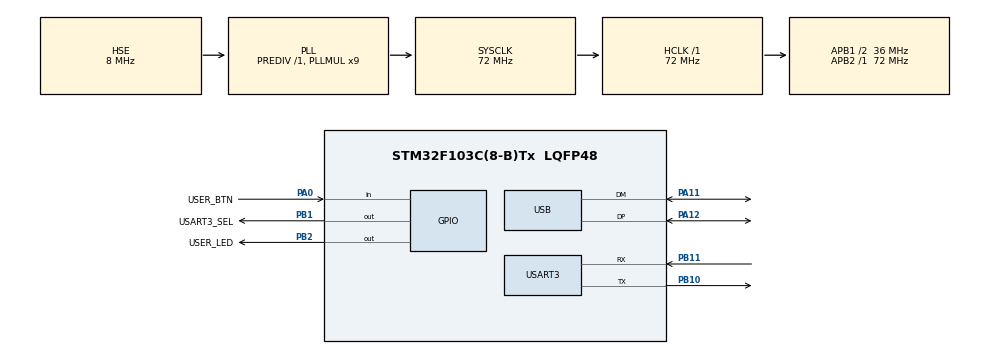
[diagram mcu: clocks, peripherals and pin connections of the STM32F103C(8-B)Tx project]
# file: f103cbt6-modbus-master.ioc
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ADC1.Channel-0\#ChannelRegularConversion=ADC_CHANNEL_TEMPSENSOR
ADC1.NbrOfConversionFlag=1
ADC1.Rank-0\#ChannelRegularConversion=1
ADC1.SamplingTime-0\#ChannelRegularConversion=ADC_SAMPLETIME_1CYCLE_5
ADC1.master=1
Dma.Request0=USART3_RX
Dma.Request1=USART3_TX
Dma.USART3_RX.0.Direction=DMA_PERIPH_TO_MEMORY
Dma.USART3_RX.0.Instance=DMA1_Channel3
Dma.USART3_RX.0.MemDataAlignment=DMA_MDATAALIGN_BYTE
Dma.USART3_RX.0.MemInc=DMA_MINC_ENABLE
Dma.USART3_RX.0.Mode=DMA_NORMAL
Dma.USART3_RX.0.PeriphDataAlignment=DMA_PDATAALIGN_BYTE
Dma.USART3_RX.0.PeriphInc=DMA_PINC_DISABLE
Dma.USART3_RX.0.Priority=DMA_PRIORITY_LOW
Dma.USART3_TX.1.Direction=DMA_MEMORY_TO_PERIPH
Dma.USART3_TX.1.Instance=DMA1_Channel2
Dma.USART3_TX.1.MemDataAlignment=DMA_MDATAALIGN_BYTE
Dma.USART3_TX.1.MemInc=DMA_MINC_ENABLE
Dma.USART3_TX.1.Mode=DMA_NORMAL
Dma.USART3_TX.1.PeriphDataAlignment=DMA_PDATAALIGN_BYTE
Dma.USART3_TX.1.PeriphInc=DMA_PINC_DISABLE
Dma.USART3_TX.1.Priority=DMA_PRIORITY_LOW
Mcu.Family=STM32F1
Mcu.Name=STM32F103C(8-B)Tx
Mcu.Package=LQFP48
NVIC.DMA1_Channel2_IRQn=true\:0\:0\:false\:false\:true\:false\:true\:true
NVIC.DMA1_Channel3_IRQn=true\:0\:0\:false\:false\:true\:false\:true\:true
NVIC.PriorityGroup=NVIC_PRIORITYGROUP_4
NVIC.USART3_IRQn=true\:0\:0\:false\:false\:true\:true\:true\:true
PA0-WKUP.GPIO_Label=USER_BTN
PA0-WKUP.GPIO_PuPd=GPIO_PULLDOWN
PA0-WKUP.Signal=GPIO_Input
PA11.Mode=Device
PA11.Signal=USB_DM
PA12.Mode=Device
PA12.Signal=USB_DP
PA13.Mode=Serial_Wire
PA13.Signal=SYS_JTMS-SWDIO
PA14.Mode=Serial_Wire
PA14.Signal=SYS_JTCK-SWCLK
PB1.GPIO_Label=USART3_SEL
PB1.Signal=GPIO_Output
PB10.Mode=Asynchronous
PB10.Signal=USART3_TX
PB11.Mode=Asynchronous
PB11.Signal=USART3_RX
PB2.GPIO_Label=USER_LED
PB2.Signal=GPIO_Output
PC14-OSC32_IN.Mode=LSE-External-Oscillator
PC14-OSC32_IN.Signal=RCC_OSC32_IN
PC15-OSC32_OUT.Mode=LSE-External-Oscillator
PC15-OSC32_OUT.Signal=RCC_OSC32_OUT
PD0-OSC_IN.Mode=HSE-External-Oscillator
PD0-OSC_IN.Signal=RCC_OSC_IN
PD1-OSC_OUT.Mode=HSE-External-Oscillator
PD1-OSC_OUT.Signal=RCC_OSC_OUT
ProjectManager.HeapSize=0x200
ProjectManager.StackSize=0x400
ProjectManager.TargetToolchain=STM32CubeIDE
RCC.ADCPresc=RCC_ADCPCLK2_DIV6
RCC.AHBFreq_Value=72000000
RCC.APB1CLKDivider=RCC_HCLK_DIV2
RCC.APB1Freq_Value=36000000
RCC.APB1TimFreq_Value=72000000
RCC.APB2Freq_Value=72000000
RCC.APB2TimFreq_Value=72000000
RCC.HCLKFreq_Value=72000000
RCC.PLLMUL=RCC_PLL_MUL9
RCC.SYSCLKFreq_VALUE=72000000
RCC.SYSCLKSource=RCC_SYSCLKSOURCE_PLLCLK
RCC.USBFreq_Value=48000000
RCC.USBPrescaler=RCC_USBCLKSOURCE_PLL_DIV1_5
USART3.VirtualMode=VM_ASYNC
VP_ADC1_TempSens_Input.Mode=IN-TempSens
board=custom

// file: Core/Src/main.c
/* USER CODE BEGIN Header */
/**
 ******************************************************************************
 * @file           : main.c
 * @brief          : Main program body
 ******************************************************************************
 * @attention
 *
 * Copyright (c) 2026 STMicroelectronics.
 * All rights reserved.
 *
 * This software is licensed under terms that can be found in the LICENSE file
 * in the root directory of this software component.
 * If no LICENSE file comes with this software, it is provided AS-IS.
 *
 ******************************************************************************
 */
/* USER CODE END Header */
#include "main.h"

/* USER CODE BEGIN Includes */
#include "string.h"
/* USER CODE END Includes */

/* USER CODE BEGIN PD */
#define SLAVE_ID 0x01
#define RX_BUF_SIZE 16
/* USER CODE END PD */

ADC_HandleTypeDef hadc1;

UART_HandleTypeDef huart3;
DMA_HandleTypeDef hdma_usart3_rx;
DMA_HandleTypeDef hdma_usart3_tx;

PCD_HandleTypeDef hpcd_USB_FS;

/* USER CODE BEGIN PV */

uint8_t tx_buf[16];
uint8_t rx_buf[RX_BUF_SIZE];
volatile uint8_t rx_complete_flag = 0;
volatile uint16_t rx_length = 0;

// State Machine Variables
typedef enum {
	STATE_IDLE,
	STATE_SEND_FC05,
	STATE_WAIT_FC05,
	STATE_SEND_FC02,
	STATE_DELAY_FC02, // <-- TAMBAHAN: State untuk jeda antar frame
	STATE_WAIT_FC02
} MasterState_t;

MasterState_t modbus_state = STATE_IDLE;
uint32_t state_timer = 0;

uint8_t my_btn_state = 0;
uint8_t slave_btn_state = 0;
/* USER CODE END PV */

void SystemClock_Config(void);
static void MX_GPIO_Init(void);
static void MX_DMA_Init(void);
static void MX_ADC1_Init(void);
static void MX_USART3_UART_Init(void);
static void MX_USB_PCD_Init(void);

/* USER CODE BEGIN 0 */

uint16_t Modbus_CRC16(uint8_t *buf, uint8_t len) {
	uint16_t crc = 0xFFFF;
	for (int pos = 0; pos < len; pos++) {
		crc ^= (uint16_t) buf[pos];
		for (int i = 8; i != 0; i--) {
			if ((crc & 0x0001) != 0) {
				crc >>= 1;
				crc ^= 0xA001;
			} else {
				crc >>= 1;
			}
		}
	}
	return crc;
}

// Fungsi untuk memulai transmisi DMA
void RS485_Send_DMA(uint8_t *data, uint16_t len) {
	HAL_GPIO_WritePin(USART3_SEL_GPIO_Port, USART3_SEL_Pin, GPIO_PIN_SET); // DE/RE HIGH (Transmit)
	// Beri sedikit jeda agar IC MAX485 siap (biasanya hitungan nanosecond, tapi aman pakai instruksi NOP)
	__NOP();
	__NOP();
	__NOP();
	HAL_UART_Transmit_DMA(&huart3, data, len);
}

// Callback saat pengiriman (TX) selesai dari DMA
void HAL_UART_TxCpltCallback(UART_HandleTypeDef *huart) {
	if (huart->Instance == USART3) {
		HAL_GPIO_WritePin(USART3_SEL_GPIO_Port, USART3_SEL_Pin, GPIO_PIN_RESET); // DE/RE LOW (Receive)
		// Mulai dengarkan balasan
		HAL_UARTEx_ReceiveToIdle_DMA(&huart3, rx_buf, RX_BUF_SIZE);
	}
}

// Callback saat penerimaan (RX) mendeteksi garis IDLE (Selesai menerima 1 frame Modbus)
void HAL_UARTEx_RxEventCallback(UART_HandleTypeDef *huart, uint16_t Size) {
	if (huart->Instance == USART3) {
		rx_length = Size;
		rx_complete_flag = 1;
	}
}

void HAL_UART_ErrorCallback(UART_HandleTypeDef *huart) {
	if (huart->Instance == USART3) {
		// Jika terjadi error pada jalur RS485, bersihkan error dan mulai dengar ulang
		HAL_UARTEx_ReceiveToIdle_DMA(&huart3, rx_buf, RX_BUF_SIZE);
	}
}
/* USER CODE END 0 */

int main(void) {

	/* MCU Configuration--------------------------------------------------------*/

	/* Reset of all peripherals, Initializes the Flash interface and the Systick. */
	HAL_Init();

	/* Configure the system clock */
	SystemClock_Config();

	/* Initialize all configured peripherals */
	MX_GPIO_Init();
	MX_DMA_Init();
	MX_ADC1_Init();
	MX_USART3_UART_Init();
	MX_USB_PCD_Init();
	/* USER CODE BEGIN 2 */
	HAL_GPIO_WritePin(USART3_SEL_GPIO_Port, USART3_SEL_Pin, GPIO_PIN_RESET); // Mode Receive Awal
	uint16_t crc;
	/* USER CODE END 2 */

	/* Infinite loop */
	/* USER CODE BEGIN WHILE */
	while (1) {

		// Baca status tombol lokal Master (Aktif low)
		my_btn_state =
				(HAL_GPIO_ReadPin(USER_BTN_GPIO_Port, USER_BTN_Pin)
						== GPIO_PIN_RESET) ? 1 : 0;

		// FSM (Finite State Machine) untuk Master tanpa Delay
		switch (modbus_state) {

		case STATE_IDLE:
			if (HAL_GetTick() - state_timer > 100) { // Kirim data setiap 100ms
				modbus_state = STATE_SEND_FC05;
			}
			break;

		case STATE_SEND_FC05: // Minta Slave mengubah LED-nya
			memset((void*) rx_buf, 0, RX_BUF_SIZE); // <-- PENTING: Bersihkan buffer
			rx_complete_flag = 0; // Reset flag penerimaan
			tx_buf[0] = SLAVE_ID;
			tx_buf[1] = 0x05;
			tx_buf[2] = 0x00;
			tx_buf[3] = 0x00;
			tx_buf[4] = my_btn_state ? 0xFF : 0x00;
			tx_buf[5] = 0x00;
			crc = Modbus_CRC16(tx_buf, 6);
			tx_buf[6] = crc & 0xFF;
			tx_buf[7] = (crc >> 8) & 0xFF;

			RS485_Send_DMA(tx_buf, 8);
			state_timer = HAL_GetTick(); // Catat waktu pengiriman
			modbus_state = STATE_WAIT_FC05;
			break;

		case STATE_WAIT_FC05:
			if (rx_complete_flag) {
				// Berhasil menerima balasan (opsional bisa di-cek CRC-nya jika perlu)
//				modbus_state = STATE_SEND_FC02; // Lanjut baca tombol slave
				state_timer = HAL_GetTick();
				modbus_state = STATE_DELAY_FC02; // <-- UBAH: Masuk ke state jeda dulu
			} else if (HAL_GetTick() - state_timer > 50) {
				// Timeout 50ms jika Slave mati
//				modbus_state = STATE_SEND_FC02; // Tetap lanjut ke state berikutnya
				modbus_state = STATE_DELAY_FC02; // <-- UBAH: Tetap masuk ke state jeda
			}
			break;

		case STATE_DELAY_FC02:
			if (HAL_GetTick() - state_timer > 5) { // Jeda aman 5ms
				modbus_state = STATE_SEND_FC02;
			}
			break;

		case STATE_SEND_FC02: // Minta status tombol Slave
			memset((void*)rx_buf, 0, RX_BUF_SIZE); // <-- PENTING: Bersihkan buffer
			rx_complete_flag = 0;
			tx_buf[0] = SLAVE_ID;
			tx_buf[1] = 0x02;
			tx_buf[2] = 0x00;
			tx_buf[3] = 0x00;
			tx_buf[4] = 0x00;
			tx_buf[5] = 0x01;
			crc = Modbus_CRC16(tx_buf, 6);
			tx_buf[6] = crc & 0xFF;
			tx_buf[7] = (crc >> 8) & 0xFF;

			RS485_Send_DMA(tx_buf, 8);
			state_timer = HAL_GetTick();
			modbus_state = STATE_WAIT_FC02;
			break;

		case STATE_WAIT_FC02:
			if (rx_complete_flag) {
				// Validasi Frame Modbus FC02
				if (rx_length >= 6 && rx_buf[0] == SLAVE_ID
						&& rx_buf[1] == 0x02) {
					if (Modbus_CRC16(rx_buf, rx_length - 2)
							== (rx_buf[rx_length - 2]
									| (rx_buf[rx_length - 1] << 8))) {
						slave_btn_state = rx_buf[3]; // Ambil data status tombol

						// Update LED Master
						if (slave_btn_state)
							HAL_GPIO_WritePin(USER_LED_GPIO_Port, USER_LED_Pin,
									GPIO_PIN_SET);
						else
							HAL_GPIO_WritePin(USER_LED_GPIO_Port, USER_LED_Pin,
									GPIO_PIN_RESET);
					}
				}
				state_timer = HAL_GetTick();
				modbus_state = STATE_IDLE; // Kembali ke awal
			} else if (HAL_GetTick() - state_timer > 50) {
				// Timeout
				state_timer = HAL_GetTick();
				modbus_state = STATE_IDLE;
			}
			break;
		}

		// Anda dapat menambahkan kode lain di sini. Program utama ini 100% Non-Blocking!

		/* USER CODE END WHILE */

	}
}

void SystemClock_Config(void) {
	RCC_OscInitTypeDef RCC_OscInitStruct = { 0 };
	RCC_ClkInitTypeDef RCC_ClkInitStruct = { 0 };
	RCC_PeriphCLKInitTypeDef PeriphClkInit = { 0 };

	/** Initializes the RCC Oscillators according to the specified parameters
	 * in the RCC_OscInitTypeDef structure.
	 */
	RCC_OscInitStruct.OscillatorType = RCC_OSCILLATORTYPE_HSE;
	RCC_OscInitStruct.HSEState = RCC_HSE_ON;
	RCC_OscInitStruct.HSEPredivValue = RCC_HSE_PREDIV_DIV1;
	RCC_OscInitStruct.HSIState = RCC_HSI_ON;
	RCC_OscInitStruct.PLL.PLLState = RCC_PLL_ON;
	RCC_OscInitStruct.PLL.PLLSource = RCC_PLLSOURCE_HSE;
	RCC_OscInitStruct.PLL.PLLMUL = RCC_PLL_MUL9;
	if (HAL_RCC_OscConfig(&RCC_OscInitStruct) != HAL_OK) {
		Error_Handler();
	}

	/** Initializes the CPU, AHB and APB buses clocks
	 */
	RCC_ClkInitStruct.ClockType = RCC_CLOCKTYPE_HCLK | RCC_CLOCKTYPE_SYSCLK
			| RCC_CLOCKTYPE_PCLK1 | RCC_CLOCKTYPE_PCLK2;
	RCC_ClkInitStruct.SYSCLKSource = RCC_SYSCLKSOURCE_PLLCLK;
	RCC_ClkInitStruct.AHBCLKDivider = RCC_SYSCLK_DIV1;
	RCC_ClkInitStruct.APB1CLKDivider = RCC_HCLK_DIV2;
	RCC_ClkInitStruct.APB2CLKDivider = RCC_HCLK_DIV1;

	if (HAL_RCC_ClockConfig(&RCC_ClkInitStruct, FLASH_LATENCY_2) != HAL_OK) {
		Error_Handler();
	}
	PeriphClkInit.PeriphClockSelection = RCC_PERIPHCLK_ADC | RCC_PERIPHCLK_USB;
	PeriphClkInit.AdcClockSelection = RCC_ADCPCLK2_DIV6;
	PeriphClkInit.UsbClockSelection = RCC_USBCLKSOURCE_PLL_DIV1_5;
	if (HAL_RCCEx_PeriphCLKConfig(&PeriphClkInit) != HAL_OK) {
		Error_Handler();
	}
}

static void MX_ADC1_Init(void) {

	ADC_ChannelConfTypeDef sConfig = { 0 };

	/** Common config
	 */
	hadc1.Instance = ADC1;
	hadc1.Init.ScanConvMode = ADC_SCAN_DISABLE;
	hadc1.Init.ContinuousConvMode = DISABLE;
	hadc1.Init.DiscontinuousConvMode = DISABLE;
	hadc1.Init.ExternalTrigConv = ADC_SOFTWARE_START;
	hadc1.Init.DataAlign = ADC_DATAALIGN_RIGHT;
	hadc1.Init.NbrOfConversion = 1;
	if (HAL_ADC_Init(&hadc1) != HAL_OK) {
		Error_Handler();
	}

	/** Configure Regular Channel
	 */
	sConfig.Channel = ADC_CHANNEL_TEMPSENSOR;
	sConfig.Rank = ADC_REGULAR_RANK_1;
	sConfig.SamplingTime = ADC_SAMPLETIME_1CYCLE_5;
	if (HAL_ADC_ConfigChannel(&hadc1, &sConfig) != HAL_OK) {
		Error_Handler();
	}

}

static void MX_USART3_UART_Init(void) {

	huart3.Instance = USART3;
	huart3.Init.BaudRate = 115200;
	huart3.Init.WordLength = UART_WORDLENGTH_8B;
	huart3.Init.StopBits = UART_STOPBITS_1;
	huart3.Init.Parity = UART_PARITY_NONE;
	huart3.Init.Mode = UART_MODE_TX_RX;
	huart3.Init.HwFlowCtl = UART_HWCONTROL_NONE;
	huart3.Init.OverSampling = UART_OVERSAMPLING_16;
	if (HAL_UART_Init(&huart3) != HAL_OK) {
		Error_Handler();
	}

}

static void MX_USB_PCD_Init(void) {

	hpcd_USB_FS.Instance = USB;
	hpcd_USB_FS.Init.dev_endpoints = 8;
	hpcd_USB_FS.Init.speed = PCD_SPEED_FULL;
	hpcd_USB_FS.Init.low_power_enable = DISABLE;
	hpcd_USB_FS.Init.lpm_enable = DISABLE;
	hpcd_USB_FS.Init.battery_charging_enable = DISABLE;
	if (HAL_PCD_Init(&hpcd_USB_FS) != HAL_OK) {
		Error_Handler();
	}

}

static void MX_DMA_Init(void) {

	/* DMA controller clock enable */
	__HAL_RCC_DMA1_CLK_ENABLE();

	/* DMA interrupt init */
	/* DMA1_Channel2_IRQn interrupt configuration */
	HAL_NVIC_SetPriority(DMA1_Channel2_IRQn, 0, 0);
	HAL_NVIC_EnableIRQ(DMA1_Channel2_IRQn);
	/* DMA1_Channel3_IRQn interrupt configuration */
	HAL_NVIC_SetPriority(DMA1_Channel3_IRQn, 0, 0);
	HAL_NVIC_EnableIRQ(DMA1_Channel3_IRQn);

}

static void MX_GPIO_Init(void) {
	GPIO_InitTypeDef GPIO_InitStruct = { 0 };

	/* GPIO Ports Clock Enable */
	__HAL_RCC_GPIOC_CLK_ENABLE();
	__HAL_RCC_GPIOD_CLK_ENABLE();
	__HAL_RCC_GPIOA_CLK_ENABLE();
	__HAL_RCC_GPIOB_CLK_ENABLE();

	/*Configure GPIO pin Output Level */
	HAL_GPIO_WritePin(GPIOB, USART3_SEL_Pin | USER_LED_Pin, GPIO_PIN_RESET);

	/*Configure GPIO pin : USER_BTN_Pin */
	GPIO_InitStruct.Pin = USER_BTN_Pin;
	GPIO_InitStruct.Mode = GPIO_MODE_INPUT;
	GPIO_InitStruct.Pull = GPIO_PULLDOWN;
	HAL_GPIO_Init(USER_BTN_GPIO_Port, &GPIO_InitStruct);

	/*Configure GPIO pins : USART3_SEL_Pin USER_LED_Pin */
	GPIO_InitStruct.Pin = USART3_SEL_Pin | USER_LED_Pin;
	GPIO_InitStruct.Mode = GPIO_MODE_OUTPUT_PP;
	GPIO_InitStruct.Pull = GPIO_NOPULL;
	GPIO_InitStruct.Speed = GPIO_SPEED_FREQ_LOW;
	HAL_GPIO_Init(GPIOB, &GPIO_InitStruct);

}

void Error_Handler(void) {
	__disable_irq();
	while (1) {
	}
}
